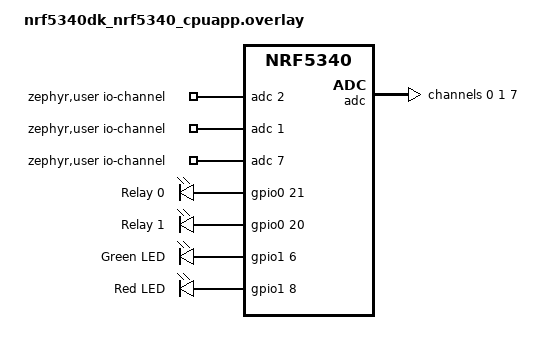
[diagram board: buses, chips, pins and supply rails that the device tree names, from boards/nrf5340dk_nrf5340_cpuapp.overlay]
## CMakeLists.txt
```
# SPDX-License-Identifier: Apache-2.0

cmake_minimum_required(VERSION 3.20.0)

find_package(Zephyr REQUIRED HINTS $ENV{ZEPHYR_BASE})
project(adc_dt)

target_sources(app PRIVATE src/main.c)
```

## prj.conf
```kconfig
CONFIG_GPIO=y
CONFIG_LOG=y
CONFIG_PRINTK=y
CONFIG_USE_SEGGER_RTT=y
CONFIG_RTT_CONSOLE=y
```

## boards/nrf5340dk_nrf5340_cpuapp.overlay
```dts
/*
 * SPDX-License-Identifier: Apache-2.0
 *
 * Copyright (c) 2022 Nordic Semiconductor ASA
 */


/ {
	zephyr,user {
		io-channels = <&adc 2>, <&adc 1>, <&adc 7>;
	};
	relays {
		compatible = "gpio-leds";
		relay1: relay_1 {
			gpios = <&gpio0 21 GPIO_ACTIVE_HIGH>;
			label = "Relay 0";
		};
		relay2: relay_2 {
			gpios = <&gpio0 20 GPIO_ACTIVE_HIGH>;
			label = "Relay 1";
		};
	};

	ledrgb {
		compatible = "gpio-leds";
		ledgreen: led_green {
			gpios = <&gpio1 6 GPIO_ACTIVE_HIGH>;
			label = "Green LED";
		};
		ledred: led_red {
			gpios = <&gpio1 8 GPIO_ACTIVE_HIGH>;
			label = "Red LED";
		};

	};

	aliases {
		relay1 = &relay1;
		relay2 = &relay2;
		ledgreen = &ledgreen;
		ledred = &ledred;
	};
};

&adc {
	#address-cells = <1>;
	#size-cells = <0>;

	channel@0 {
		reg = <0>;
		zephyr,gain = "ADC_GAIN_1_6";
		zephyr,reference = "ADC_REF_INTERNAL";
		zephyr,acquisition-time = <ADC_ACQ_TIME_DEFAULT>;
		zephyr,input-positive = <NRF_SAADC_AIN2>; /* P0.03 */
		zephyr,resolution = <12>;
	};

	channel@1 {
		reg = <1>;
		zephyr,gain = "ADC_GAIN_1_6";
		zephyr,reference = "ADC_REF_INTERNAL";
		zephyr,acquisition-time = <ADC_ACQ_TIME_DEFAULT>;
		zephyr,input-positive = <NRF_SAADC_VDD>;
		zephyr,resolution = <14>;
		zephyr,oversampling = <8>;
	};

	channel@7 {
		reg = <7>;
		zephyr,gain = "ADC_GAIN_1_5";
		zephyr,reference = "ADC_REF_VDD_1_4";
		zephyr,vref-mv = <750>;
		zephyr,acquisition-time = <ADC_ACQ_TIME_DEFAULT>;
		zephyr,input-positive = <NRF_SAADC_AIN6>; /* P0.30 */
		zephyr,input-negative = <NRF_SAADC_AIN7>; /* P0.31 */
		zephyr,resolution = <12>;
	};
};

&uart0 {
	status = "disabled";
};
```

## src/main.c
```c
/*
 * Copyright (c) 2016 Intel Corporation
 *
 * SPDX-License-Identifier: Apache-2.0
 */

#include <zephyr/kernel.h>
#include <zephyr/drivers/gpio.h>

#include <zephyr/device.h>
#include <zephyr/devicetree.h>
// #include <zephyr/drivers/adc.h>

/* 1000 msec = 1 sec */
#define SLEEP_TIME_MS   5000
#define LATCHING_DELAY 	100
#define INIT_DELAY		100
/* The devicetree node identifier for the "led0" alias. */
// #define LED0_NODE DT_ALIAS(led0)
#define RELAY1_NODE DT_ALIAS(relay1)
#define RELAY2_NODE DT_ALIAS(relay2)

#define LEDGREEN_NODE DT_ALIAS(ledgreen)
#define LEDRED_NODE DT_ALIAS(ledred)


/*
 * A build error on this line means your board is unsupported.
 * See the sample documentation for information on how to fix this.
 */
// static const struct gpio_dt_spec led = GPIO_DT_SPEC_GET(LED0_NODE, gpios);
static const struct gpio_dt_spec relay1 = GPIO_DT_SPEC_GET(RELAY1_NODE, gpios);
static const struct gpio_dt_spec relay2 = GPIO_DT_SPEC_GET(RELAY2_NODE, gpios);

static const struct gpio_dt_spec led_green = GPIO_DT_SPEC_GET(LEDGREEN_NODE, gpios);
static const struct gpio_dt_spec led_red = GPIO_DT_SPEC_GET(LEDRED_NODE, gpios);

static int led_rgb_init()
{
	int ret;
	ret = gpio_pin_set_dt(&led_green, 0);
	ret = gpio_pin_set_dt(&led_red, 0);
	k_sleep(K_MSEC(INIT_DELAY));
}

static int led_rgb_on()
{
	int ret;
	ret = gpio_pin_set_dt(&led_green, 0);
	ret = gpio_pin_set_dt(&led_red, 0);
}

static int led_rgb_off()
{
	int ret;
	ret = gpio_pin_set_dt(&led_green, 1);
	ret = gpio_pin_set_dt(&led_red, 1);
}

static int led_red_on()
{
	int ret;
	ret = gpio_pin_set_dt(&led_red, 0);
}

static int led_green_on()
{
	int ret;
	ret = gpio_pin_set_dt(&led_green, 0);
}

static int led_red_off()
{
	int ret;
	ret = gpio_pin_set_dt(&led_red, 1);
}

static int led_green_off()
{
	int ret;
	ret = gpio_pin_set_dt(&led_green, 1);
}

static int latch_relay_init()
{
	int ret;
	ret = gpio_pin_set_dt(&relay1, 0);
	ret = gpio_pin_set_dt(&relay2, 0);
	k_sleep(K_MSEC(INIT_DELAY));
}

static int latch_relay_on()
{
	int ret;
	k_sleep(K_MSEC(LATCHING_DELAY));
	ret = gpio_pin_set_dt(&relay2, 1);
	k_sleep(K_MSEC(LATCHING_DELAY));
	ret = gpio_pin_set_dt(&relay2, 0);
	k_sleep(K_MSEC(LATCHING_DELAY));

	return ret;
}

static int latch_relay_off()
{
	int ret;
	k_sleep(K_MSEC(LATCHING_DELAY));
	ret = gpio_pin_set_dt(&relay1, 1);
	k_sleep(K_MSEC(LATCHING_DELAY));
	ret = gpio_pin_set_dt(&relay1, 0);
	k_sleep(K_MSEC(LATCHING_DELAY));

	return ret;
}

static int led_rgb_gpio_configuration_init()
{
	int ret;

	if (!device_is_ready(led_green.port)) {
		return;
	}
	if (!device_is_ready(led_red.port)) {
		return;
	}

	ret = gpio_pin_configure_dt(&led_green, GPIO_OUTPUT_ACTIVE);
	if (ret < 0) {
		return;
	}
	ret = gpio_pin_configure_dt(&led_red, GPIO_OUTPUT_ACTIVE);
	if (ret < 0) {
		return;
	}
}

static int latch_relay_gpio_configuration_init()
{
	int ret;

	if (!device_is_ready(relay1.port)) {
		return;
	}
	if (!device_is_ready(relay2.port)) {
		return;
	}

	ret = gpio_pin_configure_dt(&relay1, GPIO_OUTPUT_ACTIVE);
	if (ret < 0) {
		return;
	}
	ret = gpio_pin_configure_dt(&relay2, GPIO_OUTPUT_ACTIVE);
	if (ret < 0) {
		return;
	}
}

void main(void)
{
	int ret;

	latch_relay_gpio_configuration_init();
	latch_relay_init();
	led_rgb_gpio_configuration_init();
	led_rgb_init();

	// fot testing
	for(;;)
	{
		for (int i=0; i<3; i++)
		{
			latch_relay_on();
			k_sleep(K_MSEC(3000));
			latch_relay_off();
			k_sleep(K_MSEC(3000));
		}
		for (int i=0; i<3; i++)
		{
			led_green_on();
			k_sleep(K_MSEC(500));
			led_green_off();
			k_sleep(K_MSEC(500));

			led_red_on();
			k_sleep(K_MSEC(500));
			led_red_off();
			k_sleep(K_MSEC(500));

			led_rgb_on();
			k_sleep(K_MSEC(500));
			led_rgb_off();
			k_sleep(K_MSEC(500));
		}

		k_sleep(K_MSEC(2000));
	}


}
```
